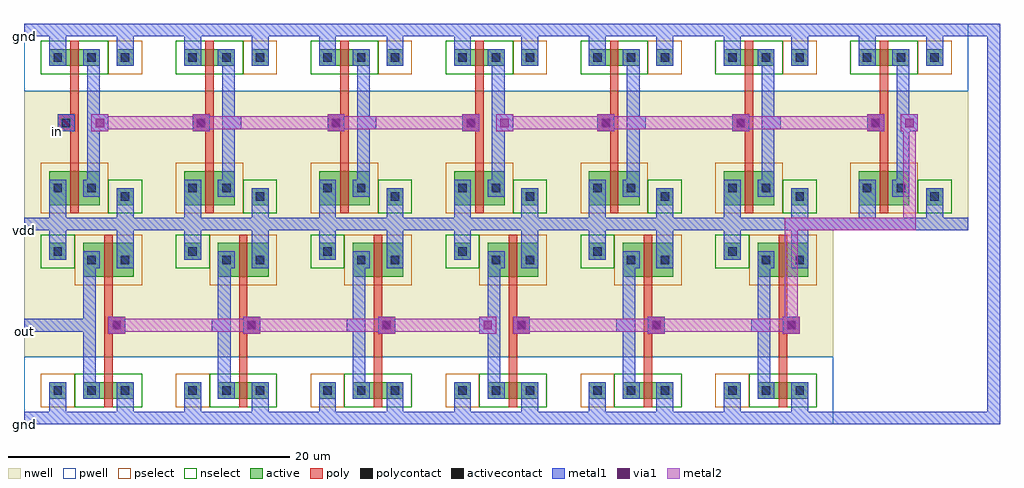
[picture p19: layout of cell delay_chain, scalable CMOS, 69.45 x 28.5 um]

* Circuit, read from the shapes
.subckt delay_chain gnd in out vdd
M1 pinv_6_1/A in gnd gnd nfet w=1.2u l=0.6u
M2 gnd pinv_6_19/A out gnd nfet w=1.2u l=0.6u
M3 pinv_6_1/Z pinv_6_1/A gnd gnd nfet w=1.2u l=0.6u
M4 gnd pinv_6_19/A pinv_6_21/Z gnd nfet w=1.2u l=0.6u
M5 pinv_6_3/Z pinv_6_1/A gnd gnd nfet w=1.2u l=0.6u
M6 gnd pinv_6_19/A pinv_6_19/Z gnd nfet w=1.2u l=0.6u
M7 pinv_6_11/A pinv_6_1/A gnd gnd nfet w=1.2u l=0.6u
M8 gnd pinv_6_13/A pinv_6_19/A gnd nfet w=1.2u l=0.6u
M9 pinv_6_36/Z pinv_6_11/A gnd gnd nfet w=1.2u l=0.6u
M10 gnd pinv_6_13/A pinv_6_15/Z gnd nfet w=1.2u l=0.6u
M11 pinv_6_38/Z pinv_6_11/A gnd gnd nfet w=1.2u l=0.6u
M12 gnd pinv_6_13/A pinv_6_13/Z gnd nfet w=1.2u l=0.6u
M13 pinv_6_13/A pinv_6_11/A gnd gnd nfet w=1.2u l=0.6u
M14 pinv_6_1/A in vdd vdd pfet w=2.4u l=0.6u
M15 vdd pinv_6_19/A out vdd pfet w=2.4u l=0.6u
M16 pinv_6_1/Z pinv_6_1/A vdd vdd pfet w=2.4u l=0.6u
M17 vdd pinv_6_19/A pinv_6_21/Z vdd pfet w=2.4u l=0.6u
M18 pinv_6_3/Z pinv_6_1/A vdd vdd pfet w=2.4u l=0.6u
M19 vdd pinv_6_19/A pinv_6_19/Z vdd pfet w=2.4u l=0.6u
M20 pinv_6_11/A pinv_6_1/A vdd vdd pfet w=2.4u l=0.6u
M21 vdd pinv_6_13/A pinv_6_19/A vdd pfet w=2.4u l=0.6u
M22 pinv_6_36/Z pinv_6_11/A vdd vdd pfet w=2.4u l=0.6u
M23 vdd pinv_6_13/A pinv_6_15/Z vdd pfet w=2.4u l=0.6u
M24 pinv_6_38/Z pinv_6_11/A vdd vdd pfet w=2.4u l=0.6u
M25 vdd pinv_6_13/A pinv_6_13/Z vdd pfet w=2.4u l=0.6u
M26 pinv_6_13/A pinv_6_11/A vdd vdd pfet w=2.4u l=0.6u
.ends

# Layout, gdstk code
from math import pi, radians
import gdstk
lib = gdstk.Library(unit=1e-6, precision=1e-09)
def R(c, l, rs):  # rectangles x0, y0, x1, y1
    for r in rs: c.add(gdstk.rectangle(r[:2], r[2:], *l))
pwell = (41, 0)
nwell = (42, 0)
active = (43, 0)
pselect = (44, 0)
nselect = (45, 0)
poly = (46, 0)
polycontact = (47, 0)
activecontact = (48, 0)
metal1 = (49, 0)
via1 = (50, 0)
metal2 = (51, 0)

active_contact_metal1_1x = lib.new_cell('active_contact_metal1_1x1_pn')
R(active_contact_metal1_1x, nwell, [(-1.8,-1.8,3,3), (-1.8,-1.8,3,3)])
R(active_contact_metal1_1x, active, [(0,0,1.2,1.2), (0,0,1.2,1.2)])
R(active_contact_metal1_1x, pselect, [(-0.6,-0.6,1.8,1.8), (-0.6,-0.6,1.8,1.8)])
R(active_contact_metal1_1x, activecontact, [(0.3,0.3,0.9,0.9), (0.3,0.3,0.9,0.9)])
R(active_contact_metal1_1x, metal1, [(0,0,1.2,1.2), (0,0,1.2,1.2)])

pmos_m1_w2_4_a_p = lib.new_cell('pmos_m1_w2_4_a_p')
R(pmos_m1_w2_4_a_p, nwell, [(-1.8,-1.8,5.4,4.2), (-1.8,-1.8,5.4,4.2)])
R(pmos_m1_w2_4_a_p, active, [(0,0,3.6,2.4), (0,0,3.6,2.4)])
R(pmos_m1_w2_4_a_p, pselect, [(-0.6,-0.6,4.2,3), (-0.6,-0.6,4.2,3)])
R(pmos_m1_w2_4_a_p, poly, [(1.5,-0.6,2.1,3), (1.5,-0.6,2.1,3), (1.5,-0.6,2.1,3), (1.5,-0.6,2.1,3)])
R(pmos_m1_w2_4_a_p, metal1, [(0,0.6,1.2,1.8), (0,0.6,1.2,1.8), (2.4,0.6,3.6,1.8), (2.4,0.6,3.6,1.8)])
pmos_m1_w2_4_a_p.add(gdstk.Reference(active_contact_metal1_1x, (0,0.6)))
pmos_m1_w2_4_a_p.add(gdstk.Reference(active_contact_metal1_1x, (2.4,0.6)))
pmos_m1_w2_4_a_p.add(gdstk.Reference(active_contact_metal1_1x, (0,0.6)))
pmos_m1_w2_4_a_p.add(gdstk.Reference(active_contact_metal1_1x, (2.4,0.6)))
pmos_m1_w2_4_a_p.add(gdstk.Label('S', (0,0.6), layer=49, texttype=0))
pmos_m1_w2_4_a_p.add(gdstk.Label('D', (2.4,0.6), layer=49, texttype=0))
pmos_m1_w2_4_a_p.add(gdstk.Label('G', (1.5,-0.6), layer=46, texttype=0))
pmos_m1_w2_4_a_p.add(gdstk.Label('S', (0,0.6), layer=49, texttype=0))
pmos_m1_w2_4_a_p.add(gdstk.Label('D', (2.4,0.6), layer=49, texttype=0))
pmos_m1_w2_4_a_p.add(gdstk.Label('G', (1.5,-0.6), layer=46, texttype=0))

c_active_contact_metal1_1x = lib.new_cell('active_contact_metal1_1x1_np')
R(c_active_contact_metal1_1x, pwell, [(-1.8,-1.8,3,3)])
R(c_active_contact_metal1_1x, active, [(0,0,1.2,1.2)])
R(c_active_contact_metal1_1x, nselect, [(-0.6,-0.6,1.8,1.8)])
R(c_active_contact_metal1_1x, activecontact, [(0.3,0.3,0.9,0.9)])
R(c_active_contact_metal1_1x, metal1, [(0,0,1.2,1.2)])

nmos_m1_w1_2_a_p = lib.new_cell('nmos_m1_w1_2_a_p')
R(nmos_m1_w1_2_a_p, pwell, [(-1.8,-1.8,5.4,3), (-1.8,-1.8,5.4,3)])
R(nmos_m1_w1_2_a_p, active, [(0,0,3.6,1.2), (0,0,3.6,1.2)])
R(nmos_m1_w1_2_a_p, nselect, [(-0.6,-0.6,4.2,1.8), (-0.6,-0.6,4.2,1.8)])
R(nmos_m1_w1_2_a_p, poly, [(1.5,-0.6,2.1,1.8), (1.5,-0.6,2.1,1.8), (1.5,-0.6,2.1,1.8), (1.5,-0.6,2.1,1.8)])
R(nmos_m1_w1_2_a_p, metal1, [(0,0,1.2,1.2), (0,0,1.2,1.2), (2.4,0,3.6,1.2), (2.4,0,3.6,1.2)])
nmos_m1_w1_2_a_p.add(gdstk.Reference(c_active_contact_metal1_1x, (0,0)))
nmos_m1_w1_2_a_p.add(gdstk.Reference(c_active_contact_metal1_1x, (2.4,0)))
nmos_m1_w1_2_a_p.add(gdstk.Reference(c_active_contact_metal1_1x, (0,0)))
nmos_m1_w1_2_a_p.add(gdstk.Reference(c_active_contact_metal1_1x, (2.4,0)))
nmos_m1_w1_2_a_p.add(gdstk.Label('S', (0,0), layer=49, texttype=0))
nmos_m1_w1_2_a_p.add(gdstk.Label('D', (2.4,0), layer=49, texttype=0))
nmos_m1_w1_2_a_p.add(gdstk.Label('G', (1.5,-0.6), layer=46, texttype=0))
nmos_m1_w1_2_a_p.add(gdstk.Label('S', (0,0), layer=49, texttype=0))
nmos_m1_w1_2_a_p.add(gdstk.Label('D', (2.4,0), layer=49, texttype=0))
nmos_m1_w1_2_a_p.add(gdstk.Label('G', (1.5,-0.6), layer=46, texttype=0))

c_active_contact_metal1_1x_ = lib.new_cell('active_contact_metal1_1x1_nn')
R(c_active_contact_metal1_1x_, nwell, [(-1.8,-1.8,3,3), (-1.8,-1.8,3,3)])
R(c_active_contact_metal1_1x_, active, [(0,0,1.2,1.2), (0,0,1.2,1.2)])
R(c_active_contact_metal1_1x_, nselect, [(-0.6,-0.6,1.8,1.8), (-0.6,-0.6,1.8,1.8)])
R(c_active_contact_metal1_1x_, activecontact, [(0.3,0.3,0.9,0.9), (0.3,0.3,0.9,0.9)])
R(c_active_contact_metal1_1x_, metal1, [(0,0,1.2,1.2), (0,0,1.2,1.2)])

c_active_contact_metal1_1x__ = lib.new_cell('active_contact_metal1_1x1_pp')
R(c_active_contact_metal1_1x__, pwell, [(-1.8,-1.8,3,3)])
R(c_active_contact_metal1_1x__, active, [(0,0,1.2,1.2)])
R(c_active_contact_metal1_1x__, pselect, [(-0.6,-0.6,1.8,1.8)])
R(c_active_contact_metal1_1x__, activecontact, [(0.3,0.3,0.9,0.9)])
R(c_active_contact_metal1_1x__, metal1, [(0,0,1.2,1.2)])

poly_contact_metal1_1x1 = lib.new_cell('poly_contact_metal1_1x1')
R(poly_contact_metal1_1x1, poly, [(0,0,1.2,1.2), (0,0,1.2,1.2)])
R(poly_contact_metal1_1x1, polycontact, [(0.3,0.3,0.9,0.9), (0.3,0.3,0.9,0.9)])
R(poly_contact_metal1_1x1, metal1, [(0,0,1.2,1.2), (0,0,1.2,1.2)])

pinv_6 = lib.new_cell('pinv_6')
R(pinv_6, pwell, [(0,-0.45,9.6,4.35)])
R(pinv_6, nwell, [(0,4.35,9.6,14.25)])
R(pinv_6, poly, [(3.3,0.75,3.9,9.45), (3,6,3.3,7.2)])
R(pinv_6, metal1, [(0,-0.45,9.6,0.45), (1.8,-0.45,3,1.35), (6.6,0,7.8,1.95), (4.5,1.35,5.4,10.65), (2.4,6,3.6,7.2), (4.95,6.15,5.85,7.05), (1.8,10.65,3,14.25), (6.6,11.85,7.8,13.8), (0,13.35,9.6,14.25)])
pinv_6.add(gdstk.Reference(pmos_m1_w2_4_a_p, (1.8,10.05)))
pinv_6.add(gdstk.Reference(nmos_m1_w1_2_a_p, (1.8,1.35)))
pinv_6.add(gdstk.Reference(c_active_contact_metal1_1x_, (6.6,11.25)))
pinv_6.add(gdstk.Reference(c_active_contact_metal1_1x__, (6.6,1.35)))
pinv_6.add(gdstk.Reference(poly_contact_metal1_1x1, (2.4,6)))
pinv_6.add(gdstk.Label('A', (2.4,6), layer=49, texttype=0))
pinv_6.add(gdstk.Label('Z', (4.95,6.15), layer=49, texttype=0))
pinv_6.add(gdstk.Label('vdd', (0,13.35), layer=49, texttype=0))
pinv_6.add(gdstk.Label('gnd', (0,-0.45), layer=49, texttype=0))

metal1_via1_metal2_1x1 = lib.new_cell('metal1_via1_metal2_1x1')
R(metal1_via1_metal2_1x1, metal1, [(0,0,1.2,1.2), (0,0,1.2,1.2)])
R(metal1_via1_metal2_1x1, via1, [(0.3,0.3,0.9,0.9), (0.3,0.3,0.9,0.9)])
R(metal1_via1_metal2_1x1, metal2, [(0,0,1.2,1.2), (0,0,1.2,1.2)])

delay_chain = lib.new_cell('delay_chain')
R(delay_chain, metal1, [(0,-0.45,67.2,0.45), (0,-0.45,67.2,0.45), (67.2,-0.45,69,0.45), (67.2,-0.45,69,0.45), (68.55,-0.45,69.45,0.45), (68.55,-0.45,69.45,0.45), (68.55,0,69.45,27.6), (68.55,0,69.45,27.6), (0,6.15,3.75,7.05), (0,6.15,3.75,7.05), (0,13.35,67.2,14.25), (0,13.35,67.2,14.25), (2.4,20.4,3.6,21.6), (2.4,20.4,3.6,21.6), (0,27.15,67.2,28.05), (0,27.15,67.2,28.05), (67.2,27.15,69,28.05), (67.2,27.15,69,28.05), (68.55,27.15,69.45,28.05), (68.55,27.15,69.45,28.05)])
R(delay_chain, metal2, [(6.6,6.15,16.2,7.05), (6.6,6.15,16.2,7.05), (16.2,6.15,25.8,7.05), (16.2,6.15,25.8,7.05), (25.8,6.15,33,7.05), (25.8,6.15,33,7.05), (35.4,6.15,45,7.05), (35.4,6.15,45,7.05), (45,6.15,54.6,7.05), (45,6.15,54.6,7.05), (54.15,6.6,55.05,13.8), (54.15,6.6,55.05,13.8), (54.15,13.35,55.05,14.25), (54.15,13.35,55.05,14.25), (54.6,13.35,63,14.25), (54.6,13.35,63,14.25), (62.55,13.35,63.45,14.25), (62.55,13.35,63.45,14.25), (62.55,13.8,63.45,21), (62.55,13.8,63.45,21), (5.4,20.55,12.6,21.45), (5.4,20.55,12.6,21.45), (12.6,20.55,22.2,21.45), (12.6,20.55,22.2,21.45), (22.2,20.55,31.8,21.45), (22.2,20.55,31.8,21.45), (34.2,20.55,41.4,21.45), (34.2,20.55,41.4,21.45), (41.4,20.55,51,21.45), (41.4,20.55,51,21.45), (51,20.55,60.6,21.45), (51,20.55,60.6,21.45)])
delay_chain.add(gdstk.Reference(pinv_6, (0,27.6), x_reflection=True))
delay_chain.add(gdstk.Reference(pinv_6, (9.6,27.6), x_reflection=True))
delay_chain.add(gdstk.Reference(metal1_via1_metal2_1x1, (12,20.4)))
delay_chain.add(gdstk.Reference(pinv_6, (19.2,27.6), x_reflection=True))
delay_chain.add(gdstk.Reference(metal1_via1_metal2_1x1, (21.6,20.4)))
delay_chain.add(gdstk.Reference(pinv_6, (28.8,27.6), x_reflection=True))
delay_chain.add(gdstk.Reference(metal1_via1_metal2_1x1, (31.2,20.4)))
delay_chain.add(gdstk.Reference(pinv_6, (38.4,27.6), x_reflection=True))
delay_chain.add(gdstk.Reference(metal1_via1_metal2_1x1, (40.8,20.4)))
delay_chain.add(gdstk.Reference(pinv_6, (48,27.6), x_reflection=True))
delay_chain.add(gdstk.Reference(metal1_via1_metal2_1x1, (50.4,20.4)))
delay_chain.add(gdstk.Reference(pinv_6, (57.6,27.6), x_reflection=True))
delay_chain.add(gdstk.Reference(metal1_via1_metal2_1x1, (60,20.4)))
delay_chain.add(gdstk.Reference(pinv_6, (57.6,0), rotation=pi, x_reflection=True))
delay_chain.add(gdstk.Reference(metal1_via1_metal2_1x1, (54,6)))
delay_chain.add(gdstk.Reference(pinv_6, (48,0), rotation=pi, x_reflection=True))
delay_chain.add(gdstk.Reference(metal1_via1_metal2_1x1, (44.4,6)))
delay_chain.add(gdstk.Reference(pinv_6, (38.4,0), rotation=pi, x_reflection=True))
delay_chain.add(gdstk.Reference(metal1_via1_metal2_1x1, (34.8,6)))
delay_chain.add(gdstk.Reference(pinv_6, (28.8,0), rotation=pi, x_reflection=True))
delay_chain.add(gdstk.Reference(metal1_via1_metal2_1x1, (25.2,6)))
delay_chain.add(gdstk.Reference(pinv_6, (19.2,0), rotation=pi, x_reflection=True))
delay_chain.add(gdstk.Reference(metal1_via1_metal2_1x1, (15.6,6)))
delay_chain.add(gdstk.Reference(pinv_6, (9.6,0), rotation=pi, x_reflection=True))
delay_chain.add(gdstk.Reference(metal1_via1_metal2_1x1, (6,6)))
delay_chain.add(gdstk.Reference(metal1_via1_metal2_1x1, (4.8,20.4)))
delay_chain.add(gdstk.Reference(metal1_via1_metal2_1x1, (33.6,20.4)))
delay_chain.add(gdstk.Reference(metal1_via1_metal2_1x1, (62.4,20.4)))
delay_chain.add(gdstk.Reference(metal1_via1_metal2_1x1, (32.4,6)))
delay_chain.add(gdstk.Reference(pinv_6, (0,27.6), x_reflection=True))
delay_chain.add(gdstk.Reference(pinv_6, (9.6,27.6), x_reflection=True))
delay_chain.add(gdstk.Reference(metal1_via1_metal2_1x1, (12,20.4)))
delay_chain.add(gdstk.Reference(pinv_6, (19.2,27.6), x_reflection=True))
delay_chain.add(gdstk.Reference(metal1_via1_metal2_1x1, (21.6,20.4)))
delay_chain.add(gdstk.Reference(pinv_6, (28.8,27.6), x_reflection=True))
delay_chain.add(gdstk.Reference(metal1_via1_metal2_1x1, (31.2,20.4)))
delay_chain.add(gdstk.Reference(pinv_6, (38.4,27.6), x_reflection=True))
delay_chain.add(gdstk.Reference(metal1_via1_metal2_1x1, (40.8,20.4)))
delay_chain.add(gdstk.Reference(pinv_6, (48,27.6), x_reflection=True))
delay_chain.add(gdstk.Reference(metal1_via1_metal2_1x1, (50.4,20.4)))
delay_chain.add(gdstk.Reference(pinv_6, (57.6,27.6), x_reflection=True))
delay_chain.add(gdstk.Reference(metal1_via1_metal2_1x1, (60,20.4)))
delay_chain.add(gdstk.Reference(pinv_6, (57.6,0), rotation=pi, x_reflection=True))
delay_chain.add(gdstk.Reference(metal1_via1_metal2_1x1, (54,6)))
delay_chain.add(gdstk.Reference(pinv_6, (48,0), rotation=pi, x_reflection=True))
delay_chain.add(gdstk.Reference(metal1_via1_metal2_1x1, (44.4,6)))
delay_chain.add(gdstk.Reference(pinv_6, (38.4,0), rotation=pi, x_reflection=True))
delay_chain.add(gdstk.Reference(metal1_via1_metal2_1x1, (34.8,6)))
delay_chain.add(gdstk.Reference(pinv_6, (28.8,0), rotation=pi, x_reflection=True))
delay_chain.add(gdstk.Reference(metal1_via1_metal2_1x1, (25.2,6)))
delay_chain.add(gdstk.Reference(pinv_6, (19.2,0), rotation=pi, x_reflection=True))
delay_chain.add(gdstk.Reference(metal1_via1_metal2_1x1, (15.6,6)))
delay_chain.add(gdstk.Reference(pinv_6, (9.6,0), rotation=pi, x_reflection=True))
delay_chain.add(gdstk.Reference(metal1_via1_metal2_1x1, (6,6)))
delay_chain.add(gdstk.Reference(metal1_via1_metal2_1x1, (4.8,20.4)))
delay_chain.add(gdstk.Reference(metal1_via1_metal2_1x1, (33.6,20.4)))
delay_chain.add(gdstk.Reference(metal1_via1_metal2_1x1, (62.4,20.4)))
delay_chain.add(gdstk.Reference(metal1_via1_metal2_1x1, (32.4,6)))
delay_chain.add(gdstk.Label('out', (0,6.15), layer=49, texttype=0))
delay_chain.add(gdstk.Label('vdd', (0,13.35), layer=49, texttype=0))
delay_chain.add(gdstk.Label('gnd', (0,-0.45), layer=49, texttype=0))
delay_chain.add(gdstk.Label('gnd', (0,27.15), layer=49, texttype=0))
delay_chain.add(gdstk.Label('in', (2.4,20.4), layer=49, texttype=0))
delay_chain.add(gdstk.Label('out', (0,6.15), layer=49, texttype=0))
delay_chain.add(gdstk.Label('vdd', (0,13.35), layer=49, texttype=0))
delay_chain.add(gdstk.Label('gnd', (0,-0.45), layer=49, texttype=0))
delay_chain.add(gdstk.Label('gnd', (0,27.15), layer=49, texttype=0))
delay_chain.add(gdstk.Label('in', (2.4,20.4), layer=49, texttype=0))

lib.write_gds('delay_chain.gds')
